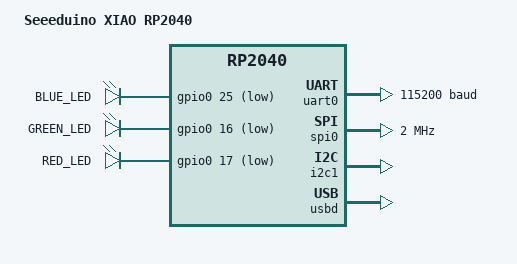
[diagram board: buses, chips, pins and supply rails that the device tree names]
/*
 * Copyright (c) 2021 Yonatan Schachter
 *
 * SPDX-License-Identifier: Apache-2.0
 */

/dts-v1/;

#include <rpi_pico/rp2040.dtsi>
#include "seeeduino_xiao_rp2040-pinctl.dtsi"
#include "seeed_xiao_connector.dtsi"
#include <freq.h>

/ {
	model = "Seeeduino XIAO RP2040";
	compatible = "seeeeduino,xiao-rp2040", "raspberrypi,rp2040";

	chosen {
		zephyr,sram = &sram0;
		zephyr,flash = &flash0;
		zephyr,console = &uart0;
		zephyr,code-partition = &code_partition;
	};

	/* These aliases are provided for compatibility with samples */
	aliases {
		led0 = &blue_led;
		led1 = &green_led;
		led2 = &red_led;
	};

	leds {
		compatible = "gpio-leds";

		blue_led: blue_led {
			gpios = <&gpio0 25 GPIO_ACTIVE_LOW>;
			label = "BLUE_LED";
		};

		green_led: green_led {
			gpios = <&gpio0 16 GPIO_ACTIVE_LOW>;
			label = "GREEN_LED";
		};

		red_led: red_led {
			gpios = <&gpio0 17 GPIO_ACTIVE_LOW>;
			label = "RED_LED";
		};
	};
};

&flash0 {
	/* 8MB of flash minus the 0x100 used for
	 * the second stage bootloader
	 */
	reg = <0x10000000 DT_SIZE_M(2)>;

	partitions {
		compatible = "fixed-partitions";
		#address-cells = <1>;
		#size-cells = <1>;

		/*
		 * Start at the beginning of usable flash, 8MB minus the
		 * second stage space and the 16 KiB reserved for settings
		 */
		code_partition: partition@100 {
			label = "code";
			reg = <0x100 (DT_SIZE_M(2) - 0x100)>;
			read-only;
		};
	};
};

&uart0 {
	current-speed = <115200>;
	status = "okay";
	pinctrl-0 = <&uart0_default>;
	pinctrl-names = "default";
};

&spi0 {
	status = "okay";
	pinctrl-0 = <&spi0_default>;
	pinctrl-names = "default";
	clock-frequency = <DT_FREQ_M(2)>;
};

&i2c1 {
	status = "okay";
	pinctrl-0 = <&i2c1_default>;
	pinctrl-names = "default";
};

&gpio0 {
	status = "okay";
};

zephyr_udc0: &usbd {
	status = "okay";
};
